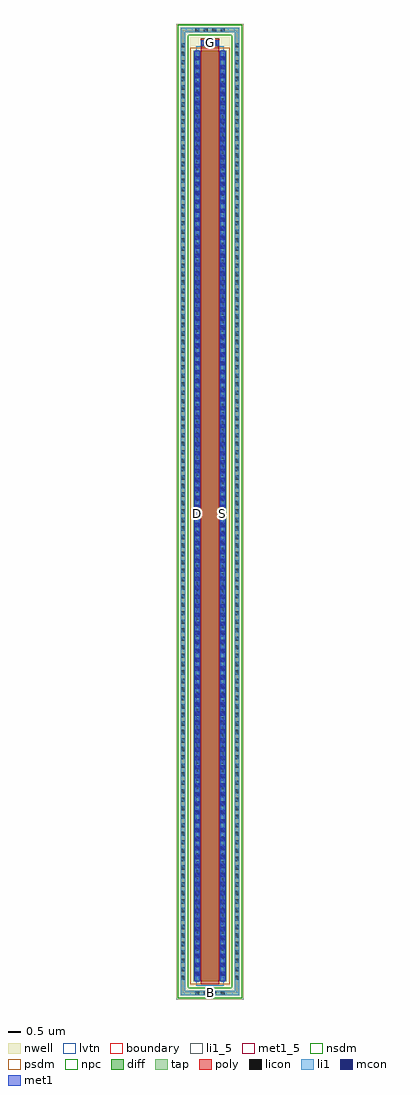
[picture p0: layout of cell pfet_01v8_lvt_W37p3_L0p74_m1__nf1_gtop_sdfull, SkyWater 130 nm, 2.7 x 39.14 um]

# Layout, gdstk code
import gdstk
lib = gdstk.Library(unit=1e-6, precision=1e-09)
def R(c, l, rs):  # rectangles x0, y0, x1, y1
    for r in rs: c.add(gdstk.rectangle(r[:2], r[2:], *l))
def A(c, l, x, y, w, h, nx, ny, dx, dy):  # array of equal rectangles
    R(c, l, [(x+i*dx, y+j*dy, x+i*dx+w, y+j*dy+h) for i in range(nx) for j in range(ny)])
nwell = (64, 20)
diff = (65, 20)
tap = (65, 44)
poly = (66, 20)
licon = (66, 44)
li1_5 = (67, 5)
li1 = (67, 20)
mcon = (67, 44)
met1_5 = (68, 5)
met1 = (68, 20)
nsdm = (93, 44)
psdm = (94, 20)
npc = (95, 20)
lvtn = (125, 44)
boundary = (235, 4)

sky130_fd_pr__pfet_01v8_ = lib.new_cell('sky130_fd_pr__pfet_01v8_lvt_KFJMAC')
R(sky130_fd_pr__pfet_01v8_, nwell, [(-1.35,-19.57,1.35,19.57)])
R(sky130_fd_pr__pfet_01v8_, diff, [(-0.66,-18.83,0.66,18.47)])
R(sky130_fd_pr__pfet_01v8_, tap, [(-1.17,-19.39,1.17,-19.22), (-1.17,-19.22,-1,19.22), (1,-19.22,1.17,19.22), (-1.17,19.22,1.17,19.39)])
R(sky130_fd_pr__pfet_01v8_, poly, [(-0.37,-18.96,0.37,18.955)])
A(sky130_fd_pr__pfet_01v8_, licon, -0.595, -19.39, 0.17, 0.17, 4, 2, 0.34, 38.61)
A(sky130_fd_pr__pfet_01v8_, licon, -1.17, -18.785, 0.17, 0.17, 1, 111, 0, 0.34)
A(sky130_fd_pr__pfet_01v8_, licon, 1, -18.785, 0.17, 0.17, 1, 111, 0, 0.34)
A(sky130_fd_pr__pfet_01v8_, licon, -0.6, -18.625, 0.17, 0.17, 1, 109, 0, 0.34)
A(sky130_fd_pr__pfet_01v8_, licon, 0.43, -18.625, 0.17, 0.17, 1, 109, 0, 0.34)
R(sky130_fd_pr__pfet_01v8_, licon, [(-0.255,18.705,-0.085,18.875), (0.085,18.705,0.255,18.875)])
R(sky130_fd_pr__pfet_01v8_, li1, [(-1.17,-19.39,1.17,-19.22), (-1.17,-19.22,-1,19.22), (1,-19.22,1.17,19.22), (-0.6,-18.85,-0.43,18.49), (0.43,-18.85,0.6,18.49), (-0.37,18.705,0.37,18.875), (-1.17,19.22,1.17,19.39)])
A(sky130_fd_pr__pfet_01v8_, mcon, -0.6, -18.625, 0.17, 0.17, 1, 103, 0, 0.36)
A(sky130_fd_pr__pfet_01v8_, mcon, 0.43, -18.625, 0.17, 0.17, 1, 103, 0, 0.36)
R(sky130_fd_pr__pfet_01v8_, mcon, [(-0.265,18.705,-0.095,18.875), (0.095,18.705,0.265,18.875)])
R(sky130_fd_pr__pfet_01v8_, met1, [(-0.63,-18.83,-0.4,18.47), (0.4,-18.83,0.63,18.47), (-0.35,18.675,0.35,18.905)])
R(sky130_fd_pr__pfet_01v8_, nsdm, [(-1.295,-19.515,1.295,-19.095), (-1.295,-19.095,-0.875,19.095), (0.875,-19.095,1.295,19.095), (-1.295,19.095,1.295,19.515)])
R(sky130_fd_pr__pfet_01v8_, psdm, [(-0.785,-18.955,0.785,18.595)])
R(sky130_fd_pr__pfet_01v8_, npc, [(-0.355,18.605,0.355,18.975)])
R(sky130_fd_pr__pfet_01v8_, lvtn, [(-0.55,-19.01,0.55,18.65)])
R(sky130_fd_pr__pfet_01v8_, boundary, [(-1.085,-19.305,1.085,19.305)])
sky130_fd_pr__pfet_01v8_.add(gdstk.Label('B', (0,-19.305), layer=67, texttype=5))
sky130_fd_pr__pfet_01v8_.add(gdstk.Label('D', (-0.515,-0.18), layer=67, texttype=5))
sky130_fd_pr__pfet_01v8_.add(gdstk.Label('S', (0.515,-0.18), layer=67, texttype=5))
sky130_fd_pr__pfet_01v8_.add(gdstk.Label('G', (0,18.79), layer=67, texttype=5))

pfet_01v8_lvt_w37p3_l0p7 = lib.new_cell('pfet_01v8_lvt_W37p3_L0p74_m1__nf1_gtop_sdfull')
R(pfet_01v8_lvt_w37p3_l0p7, li1_5, [(1,-0.085,1.17,0.085)])
R(pfet_01v8_lvt_w37p3_l0p7, li1, [(1,-0.085,1.17,0.085)])
R(pfet_01v8_lvt_w37p3_l0p7, met1_5, [(0.455,19.125,0.685,19.325), (1.485,19.125,1.715,19.325), (0.735,37.98,1.435,38.21)])
R(pfet_01v8_lvt_w37p3_l0p7, met1, [(0.455,19.125,0.685,19.325), (1.485,19.125,1.715,19.325), (0.735,37.98,1.435,38.21)])
pfet_01v8_lvt_w37p3_l0p7.add(gdstk.Reference(sky130_fd_pr__pfet_01v8_, (1.085,19.305)))
pfet_01v8_lvt_w37p3_l0p7.add(gdstk.Label('D', (0.57,19.225), layer=68, texttype=5))
pfet_01v8_lvt_w37p3_l0p7.add(gdstk.Label('S', (1.6,19.225), layer=68, texttype=5))
pfet_01v8_lvt_w37p3_l0p7.add(gdstk.Label('G', (1.085,38.095), layer=68, texttype=5))
pfet_01v8_lvt_w37p3_l0p7.add(gdstk.Label('B', (1.085,0), layer=67, texttype=5))

lib.write_gds('pfet_01v8_lvt_W37p3_L0p74_m1__nf1_gtop_sdfull.gds')
